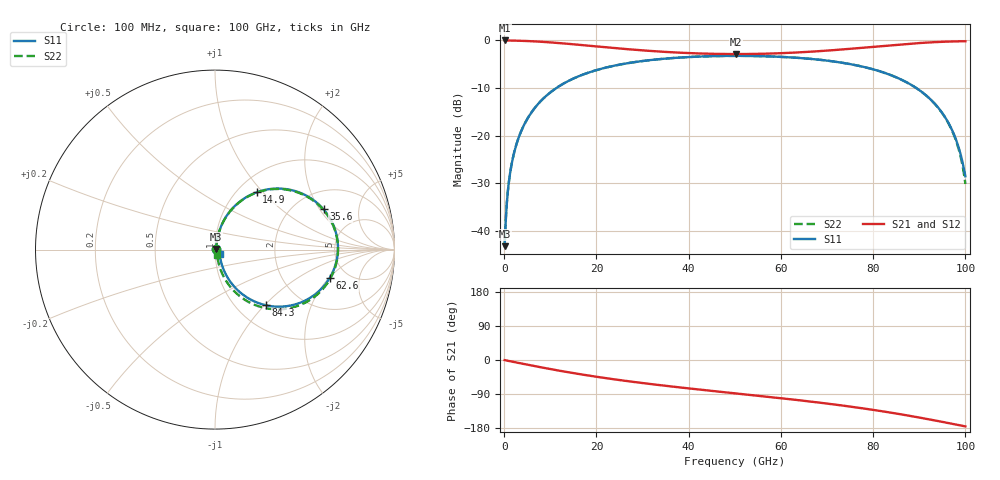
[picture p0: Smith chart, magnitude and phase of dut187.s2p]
! Touchstone file exported from HFSS 2026.1.0
!  File:  C:/ffzhzh/LocalFiles/Ansys_Project_Files/temp_train_RDL_187_1783500459_9504.aedt
!  Generated:  04:48:54 PM Jul  8, 2026
!  Design:  RDL
!  Project:  temp_train_RDL_187_1783500459_9504
! Variables:
!  h_bsmrdl = 2um
!  h_ox = 20um
!  h_rdl = 5um
!  h_sub = 80um
!  h_tmrdl = 2.27um
!  h_tsv = 80um
!  h_via = 3um
!  l_bsmrdl = 300um
!  l_sub = 975.02um
!  l_tmrdl = 575.02um
!  m_sub = 200um
!  pitch = 51.94um
!  r_tsv = 6um
!  s_tmrdl = 10um
!  w_bsmrdl = 18um
!  w_sub = 500um
!  w_tmrdl = 14.81um
!  x_tsv_center1 = 582.425um
!  x_tsv_center2 = 900.425um
!  x_tsv_center3 = 1490.255um
!  x_tsv_center4 = 1808.255um
!  x_tsv_center5 = 2398.085um
!  x_tsv_center6 = 2716.085um
# GHz S MA R 50.000000
! Terminal data exported
! Port[1] = TM_RDL1_1_T1
! Port[2] = TM_RDL1_1_T2
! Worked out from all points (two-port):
!   1000 points, 100 MHz to 100 GHz, reference 50 ohm
!   highest |S21| = -0.05 dB at 100 MHz (marker M1); lowest = -2.9 dB at 50.3 GHz (marker M2)
!   |S21| within 3 dB of the highest: start of sweep to end of sweep
!   lowest |S11| = -43.2 dB at 100 MHz (marker M3), VSWR 1.01, Z = 50.6 + j0.324 ohm
!   |S11| at or under -10 dB: start of sweep to 11.35 GHz; 89.32 GHz to end of sweep
!   |S22| runs from -43.2 to -3.3 dB; largest |S21 - S12| = 1.8e-14
!   S11 on the Smith chart (normalised r, x): 100 MHz: 1.01, +0.01; 14.9 GHz: 1.22, +0.92; 35.6 GHz: 2.83, +2.17; 62.6 GHz: 3.65, -2.03; 84.3 GHz: 1.35, -1.02; 100 GHz: 1.05, -0.06
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0.1  0.006946 27.5  0.9938 -0.3  0.9938 -0.3  0.006946 27.5
! Gamma 0 0 0 0
! Port Impedance 50 0 50 0
0.9  0.02898 73.7  0.9925 -2.3  0.9925 -2.3  0.02898 73.6
1.5  0.0467 77.0  0.9914 -3.7  0.9914 -3.7  0.0467 77.0
2.5  0.07626 77.9  0.9892 -6.2  0.9892 -6.2  0.07626 77.8
3.9  0.1173 76.4  0.9848 -9.6  0.9848 -9.6  0.1173 76.3
8.3  0.2399 67.8  0.9612 -20.0  0.9612 -20.0  0.2399 67.6
14.9  0.3941 54.1  0.9072 -34.4  0.9072 -34.4  0.3941 53.8
16.8  0.431 50.4  0.89 -38.2  0.89 -38.2  0.431 50.0
24.2  0.5446 37.3  0.8252 -51.6  0.8252 -51.6  0.5447 36.8
33.4  0.6314 23.4  0.762 -65.8  0.762 -65.8  0.6314 22.7
35.6  0.6451 20.4  0.7508 -69.0  0.7508 -69.0  0.6452 19.6
50.1  0.6853 1.9  0.7158 -88.0  0.7158 -88.0  0.6854 0.8
50.3  0.6853 1.6  0.7158 -88.2  0.7158 -88.2  0.6854 0.5
62.6  0.6582 -13.9  0.7401 -104.3  0.7401 -104.3  0.6583 -15.4
66.7  0.6355 -19.4  0.7589 -110.1  0.7589 -110.1  0.6355 -21.0
76  0.55 -33.2  0.8199 -124.6  0.8199 -124.6  0.55 -35.3
83.4  0.4386 -45.8  0.8809 -138.1  0.8809 -138.1  0.4385 -48.4
84.3  0.422 -47.4  0.8884 -139.8  0.8884 -139.8  0.4218 -50.1
90.5  0.2882 -58.7  0.9368 -152.9  0.9368 -152.9  0.2877 -62.5
95  0.1723 -65.7  0.9623 -163.3  0.9623 -163.3  0.1713 -71.4
97.9  0.09262 -65.6  0.9718 -170.2  0.9718 -170.2  0.09039 -75.2
100  0.03751 -46.5  0.9747 -175.2  0.9747 -175.2  0.03116 -67.7
